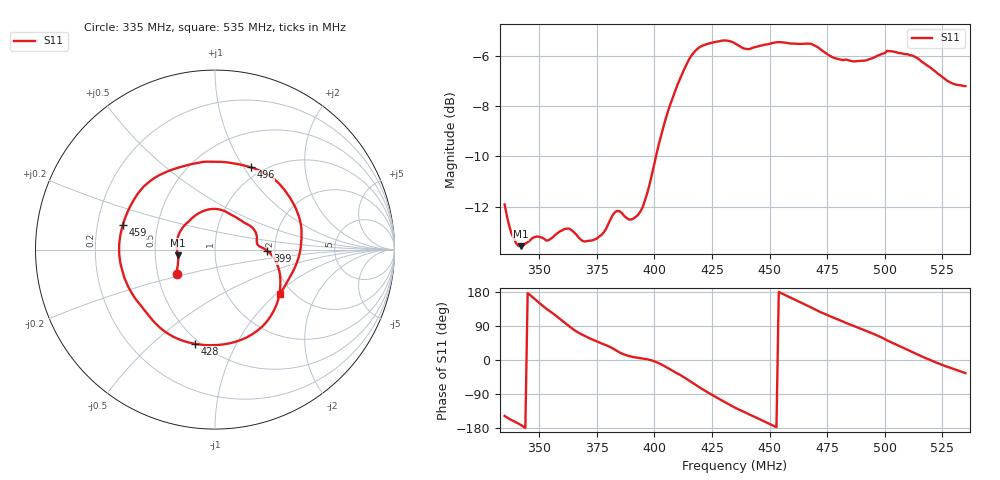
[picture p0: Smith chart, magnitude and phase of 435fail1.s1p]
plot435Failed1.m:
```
%clc
%clear all
%close all

yagiS11 = sparameters('435fail1.s1p');
yagiS11.Frequencies = yagiS11.Frequencies
figure
smithplot(yagiS11)
figure
rfplot(yagiS11)
%figure
%plot(freqHz,Trc1_S11U);
%title('Yagi 144Mhz 6-element 50 Ohm - VSWR')
%xlabel('Frequency')
%ylabel('Amplitude - dB')
grid on
```
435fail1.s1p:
#  HZ  S  RI  R  50.00
! Rohde & Schwarz ZVA40 2Ports - Version 3.12 - 1145.1110k40 SN: 100360
! Date: 2019-09-05 18:59:52
! Measurement: S11
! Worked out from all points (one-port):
!   201 points, 335 MHz to 535 MHz, reference 50 ohm
!   lowest |S11| = -13.6 dB at 342 MHz (marker M1), VSWR 1.53, Z = 32.8 - j2.16 ohm
!   |S11| at or under -10 dB: start of sweep to 400.7 MHz
!   S11 on the Smith chart (normalised r, x): 335 MHz: 0.63, -0.18; 399 MHz: 1.82, -0.03; 428 MHz: 0.47, -0.69; 459 MHz: 0.31, +0.12; 496 MHz: 0.88, +1.08; 535 MHz: 1.72, -1.05
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3.35e8  -0.214 -0.136
3.42e8  -0.207 -0.0315
3.63e8  0.00262 0.2269
3.99e8  0.2917 -0.00655
4.02e8  0.3314 -0.0512
4.14e8  0.3108 -0.3697
4.28e8  -0.1137 -0.5244
4.45e8  -0.4724 -0.2273
4.59e8  -0.513 0.1381
4.69e8  -0.3768 0.3693
4.83e8  -0.0707 0.4884
4.96e8  0.1987 0.4587
5.14e8  0.48 0.1308
5.35e8  0.3596 -0.2477
